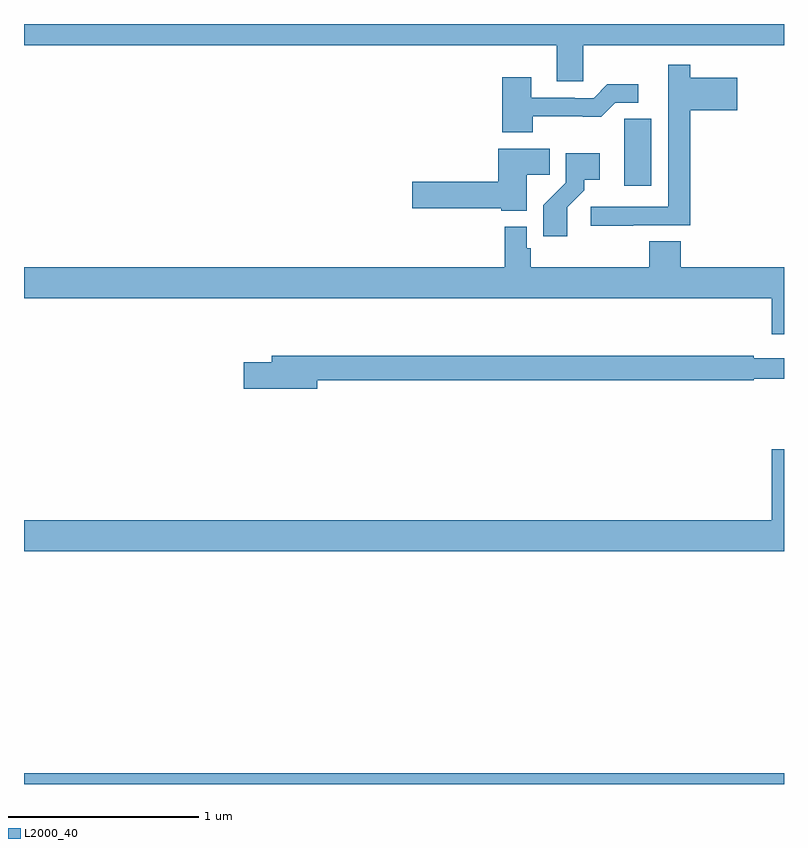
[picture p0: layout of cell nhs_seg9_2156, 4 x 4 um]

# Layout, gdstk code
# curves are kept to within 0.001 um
import gdstk
lib = gdstk.Library(unit=1e-6, precision=1e-09)
def R(c, l, rs):  # rectangles x0, y0, x1, y1
    for r in rs: c.add(gdstk.rectangle(r[:2], r[2:], *l))
def P(c, l, *ps):  # polygons
    for p in ps: c.add(gdstk.Polygon(p, *l))
L2000_40 = (2000, 40)

nhs_seg9_2156 = lib.new_cell('nhs_seg9_2156')
R(nhs_seg9_2156, L2000_40, [(233,1224.5,237,1224.556)])
P(nhs_seg9_2156, L2000_40, [(235.944,1228.388),(237,1228.388),(237,1228.5),(233,1228.5),(233,1228.388),(235.805,1228.388),(235.805,1228.198),(235.944,1228.198)],
  [(236.207,1227.441),(236.507,1227.441),(236.507,1228.046),(236.755,1228.046),(236.755,1228.216),(236.507,1228.216),(236.507,1228.285),(236.39,1228.285),(236.39,1228.062),(236.391,1228.062),(236.391,1227.537),(235.983,1227.537),(235.983,1227.439),(236.207,1227.439)],
  [(235.677,1228.014),(236.039,1228.013),(236.112,1228.086),(236.233,1228.086),(236.233,1228.183),(236.071,1228.183),(235.998,1228.11),(235.898,1228.11),(235.898,1228.113),(235.669,1228.113),(235.669,1228.219),(235.517,1228.219),(235.517,1227.929),(235.677,1227.929)],
  [(236.302,1228.001),(236.16,1228.001),(236.16,1227.89),(236.159,1227.89),(236.159,1227.648),(236.302,1227.648)],
  [(235.645,1227.706),(235.766,1227.706),(235.766,1227.844),(235.496,1227.844),(235.496,1227.671),(235.044,1227.671),(235.044,1227.529),(235.512,1227.529),(235.512,1227.518),(235.645,1227.518)],
  [(235.858,1227.535),(235.948,1227.625),(235.948,1227.68),(236.029,1227.68),(236.029,1227.82),(235.851,1227.82),(235.851,1227.665),(235.732,1227.546),(235.732,1227.384),(235.858,1227.384)],
  [(237,1227.22),(236.456,1227.22),(236.456,1227.356),(236.291,1227.356),(236.291,1227.22),(235.667,1227.22),(235.667,1227.321),(235.647,1227.321),(235.647,1227.433),(235.531,1227.433),(235.531,1227.22),(233,1227.22),(233,1227.056),(236.936,1227.056),(236.936,1226.868),(237,1226.868)],
  [(234.544,1226.626),(236.84,1226.626),(236.84,1226.634),(237,1226.634),(237,1226.742),(236.84,1226.742),(236.84,1226.755),(234.305,1226.755),(234.305,1226.721),(234.156,1226.721),(234.156,1226.579),(234.544,1226.579)],
  [(237,1226.263),(236.936,1226.263),(236.936,1225.888),(233,1225.888),(233,1225.724),(237,1225.724)])

lib.write_gds('nhs_seg9_2156.gds')
